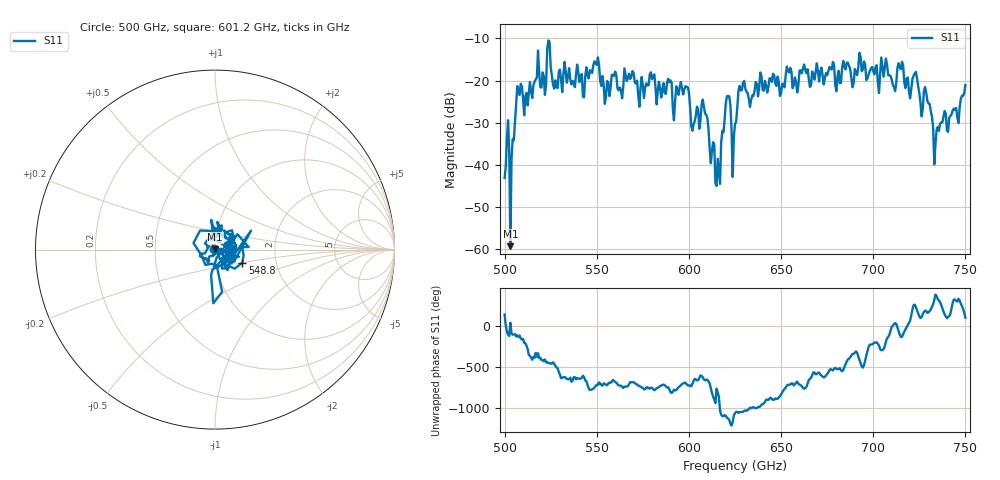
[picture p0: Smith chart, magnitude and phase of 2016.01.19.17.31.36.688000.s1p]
!Created with skrf (http://scikit-rf.org).
# GHz S RI R 50.0
!freq ReS11 ImS11
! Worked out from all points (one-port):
!   401 points, 500 GHz to 750 GHz, reference 50 ohm
!   lowest |S11| = -59.2 dB at 503.1 GHz (marker M1), VSWR 1.00, Z = 50.1 + j0.0655 ohm
!   |S11| at or under -10 dB: start of sweep to end of sweep
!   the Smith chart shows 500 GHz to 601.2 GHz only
!   S11 on the Smith chart (normalised r, x): 500 GHz: 0.99, +0.01; 548.8 GHz: 1.34, -0.20; 601.2 GHz: 1.06, -0.01
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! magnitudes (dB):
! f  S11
! 500 GHz  -43.1
! 503.1 GHz  -59.2
! 504.4 GHz  -33.8
! 505.6 GHz  -29.9
! 508.1 GHz  -23.4
! 521.2 GHz  -19.0
! 524.4 GHz  -10.8
! 527.5 GHz  -19.9
! 531.2 GHz  -22.7
! 548.8 GHz  -15.4
! 562.5 GHz  -21.6
! 568.8 GHz  -19.0
! 593.8 GHz  -22.2
! 598.8 GHz  -21.5
! 601.2 GHz  -30.6
! 608.1 GHz  -26.1
! 615.6 GHz  -38.5
! 621.2 GHz  -23.6
! 625 GHz  -30.3
! 628.8 GHz  -22.2
! 656.2 GHz  -21.8
! 687.5 GHz  -17.2
! 711.2 GHz  -21.6
! 715 GHz  -17.3
! 718.8 GHz  -19.3
! 728.8 GHz  -22.9
! 734.4 GHz  -31.7
! 750 GHz  -21.1
